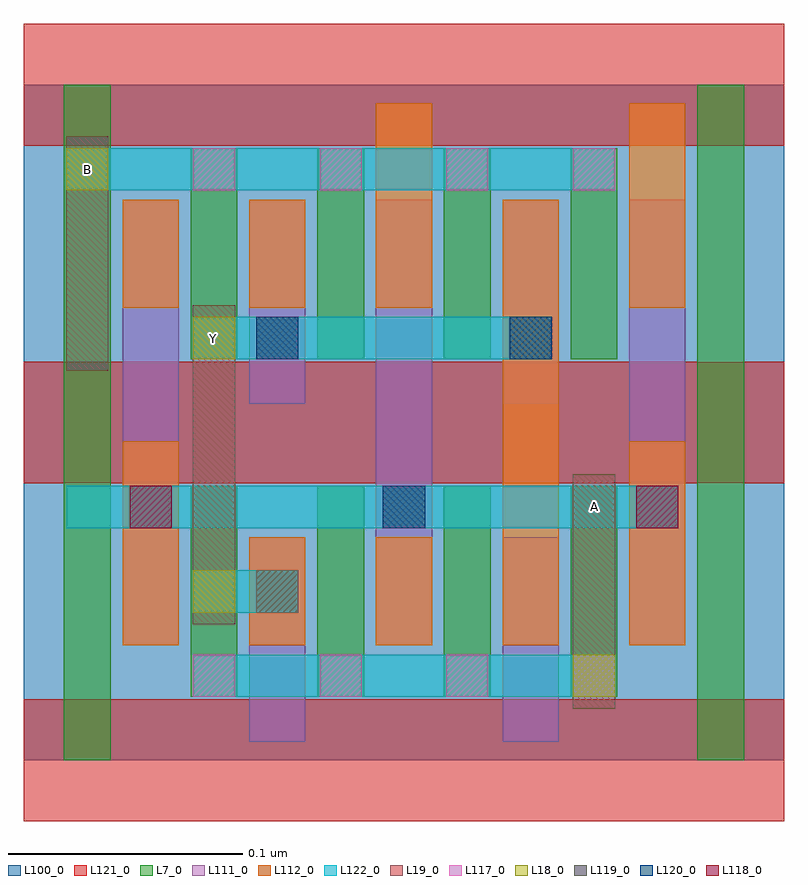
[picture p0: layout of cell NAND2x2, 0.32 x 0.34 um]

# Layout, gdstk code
import gdstk
lib = gdstk.Library(unit=1e-6, precision=2.5e-10)
def R(c, l, rs):  # rectangles x0, y0, x1, y1
    for r in rs: c.add(gdstk.rectangle(r[:2], r[2:], *l))
def A(c, l, x, y, w, h, nx, ny, dx, dy):  # array of equal rectangles
    R(c, l, [(x+i*dx, y+j*dy, x+i*dx+w, y+j*dy+h) for i in range(nx) for j in range(ny)])
L7_0 = (7, 0)
L18_0 = (18, 0)
L19_0 = (19, 0)
L100_0 = (100, 0)
L111_0 = (111, 0)
L112_0 = (112, 0)
L117_0 = (117, 0)
L118_0 = (118, 0)
L119_0 = (119, 0)
L120_0 = (120, 0)
L121_0 = (121, 0)
L122_0 = (122, 0)

nand2x2 = lib.new_cell('NAND2x2')
A(nand2x2, L7_0, 0.071, 0.027, 0.02, 0.09, 4, 2, 0.054, 0.144)
R(nand2x2, L7_0, [(0.017,0,0.037,0.144), (0.287,0,0.307,0.144), (0.017,0.144,0.037,0.288), (0.287,0.144,0.307,0.288)])
R(nand2x2, L18_0, [(0.234,0.027,0.252,0.045), (0.072,0.063,0.09,0.081), (0.072,0.171,0.09,0.189), (0.018,0.243,0.036,0.261)])
R(nand2x2, L19_0, [(0.234,0.022,0.252,0.122), (0.072,0.058,0.09,0.194), (0.018,0.166,0.036,0.266)])
R(nand2x2, L100_0, [(0,0,0.324,0.288)])
A(nand2x2, L111_0, 0.042, 0.049, 0.024, 0.095, 3, 2, 0.108, 0.095)
R(nand2x2, L111_0, [(0.096,0.008,0.12,0.095), (0.204,0.008,0.228,0.095), (0.096,0.152,0.12,0.239), (0.204,0.152,0.228,0.239)])
R(nand2x2, L112_0, [(0.042,0.049,0.066,0.136), (0.096,0.049,0.12,0.095), (0.15,0.049,0.174,0.095), (0.204,0.049,0.228,0.144), (0.258,0.049,0.282,0.136), (0.204,0.144,0.228,0.239), (0.042,0.193,0.066,0.239), (0.096,0.193,0.12,0.239), (0.15,0.193,0.174,0.28), (0.258,0.193,0.282,0.28)])
A(nand2x2, L117_0, 0.072, 0.027, 0.018, 0.018, 4, 2, 0.054, 0.216)
R(nand2x2, L118_0, [(0.045,0.099,0.063,0.117), (0.261,0.099,0.279,0.117)])
R(nand2x2, L119_0, [(0.099,0.063,0.117,0.081), (0.153,0.099,0.171,0.117), (0.099,0.171,0.117,0.189), (0.207,0.171,0.225,0.189)])
R(nand2x2, L120_0, [(0.153,0.099,0.171,0.117), (0.099,0.171,0.117,0.189), (0.207,0.171,0.225,0.189)])
A(nand2x2, L121_0, 0, -0.026, 0.324, 0.052, 1, 3, 0, 0.144)
R(nand2x2, L122_0, [(0.072,0.027,0.252,0.045), (0.072,0.063,0.117,0.081), (0.018,0.099,0.279,0.117), (0.072,0.171,0.225,0.189), (0.018,0.243,0.252,0.261)])
nand2x2.add(gdstk.Label('Y', (0.081,0.18), layer=19, texttype=251))
nand2x2.add(gdstk.Label('B', (0.027,0.252), layer=19, texttype=251))
nand2x2.add(gdstk.Label('A', (0.243,0.108), layer=19, texttype=251))

lib.write_gds('NAND2x2.gds')
